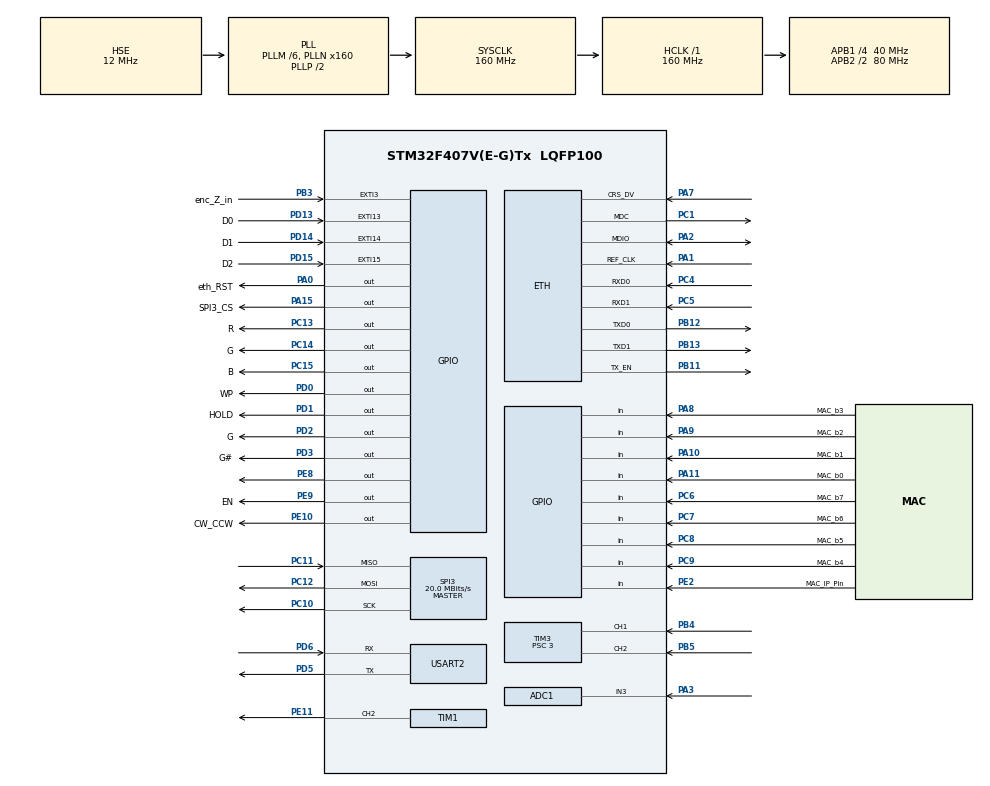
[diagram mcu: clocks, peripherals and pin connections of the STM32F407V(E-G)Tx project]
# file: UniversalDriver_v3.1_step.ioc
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ADC1.Channel-0\#ChannelRegularConversion=ADC_CHANNEL_3
ADC1.NbrOfConversionFlag=1
ADC1.Rank-0\#ChannelRegularConversion=1
ADC1.SamplingTime-0\#ChannelRegularConversion=ADC_SAMPLETIME_3CYCLES
ADC1.master=1
ETH.MACAddr=44\:84\:23\:84\:44\:77
ETH.MediaInterface=HAL_ETH_RMII_MODE
ETH.PhyAddress=0
FREERTOS.Tasks01=mainTask,0,512,MainTask,Default,NULL,Dynamic,NULL,NULL;Motor_pool,0,256,motor_pool,Default,NULL,Dynamic,NULL,NULL;ledTask,0,512,LedTask,Default,NULL,Dynamic,NULL,NULL
FREERTOS.configTOTAL_HEAP_SIZE=20000
FREERTOS.configUSE_NEWLIB_REENTRANT=1
LWIP.BSP.number=1
LWIP.LWIP_DHCP=0
LWIP.LWIP_DNS=1
LWIP.Version=v2.1.2_Cube
LWIP0.BSP.STBoard=false
LWIP0.BSP.api=BSP_COMPONENT_DRIVER
LWIP0.BSP.component=LAN8742
LWIP0.BSP.instance=LAN8742
LWIP0.BSP.name=Driver_PHY
LWIP0.BSP.semaphore=S_LAN8742
LWIP0.BSP.solution=LAN8742
Mcu.Family=STM32F4
Mcu.Name=STM32F407V(E-G)Tx
Mcu.Package=LQFP100
NVIC.ETH_IRQn=true\:5\:0\:false\:false\:true\:true\:false\:true\:true
NVIC.EXTI3_IRQn=true\:5\:0\:false\:false\:true\:true\:true\:true\:true
NVIC.PriorityGroup=NVIC_PRIORITYGROUP_4
NVIC.TIM3_IRQn=true\:5\:0\:false\:false\:true\:true\:true\:true\:true
NVIC.TIM4_IRQn=true\:5\:0\:false\:false\:true\:true\:true\:true\:true
NVIC.TIM7_IRQn=true\:15\:0\:false\:false\:true\:false\:false\:true\:true
NVIC.TimeBase=TIM7_IRQn
NVIC.TimeBaseIP=TIM7
PA0-WKUP.GPIO_Label=eth_RST
PA0-WKUP.Signal=GPIO_Output
PA1.GPIO_PuPd=GPIO_NOPULL
PA1.Mode=RMII
PA1.Signal=ETH_REF_CLK
PA10.GPIO_Label=MAC_b1
PA10.GPIO_PuPd=GPIO_PULLDOWN
PA10.Signal=GPIO_Input
PA11.GPIO_Label=MAC_b0
PA11.GPIO_PuPd=GPIO_PULLDOWN
PA11.Signal=GPIO_Input
PA13.Mode=Serial_Wire
PA13.Signal=SYS_JTMS-SWDIO
PA14.Mode=Serial_Wire
PA14.Signal=SYS_JTCK-SWCLK
PA15.GPIO_Label=SPI3_CS
PA15.Signal=GPIO_Output
PA2.GPIO_PuPd=GPIO_NOPULL
PA2.Mode=RMII
PA2.Signal=ETH_MDIO
PA3.Signal=ADCx_IN3
PA7.GPIO_PuPd=GPIO_NOPULL
PA7.Mode=RMII
PA7.Signal=ETH_CRS_DV
PA8.GPIO_Label=MAC_b3
PA8.GPIO_PuPd=GPIO_PULLDOWN
PA8.Signal=GPIO_Input
PA9.GPIO_Label=MAC_b2
PA9.GPIO_PuPd=GPIO_PULLDOWN
PA9.Signal=GPIO_Input
PB11.GPIO_PuPd=GPIO_NOPULL
PB11.Mode=RMII
PB11.Signal=ETH_TX_EN
PB12.GPIO_PuPd=GPIO_NOPULL
PB12.Mode=RMII
PB12.Signal=ETH_TXD0
PB13.GPIO_PuPd=GPIO_NOPULL
PB13.Mode=RMII
PB13.Signal=ETH_TXD1
PB3.GPIO_Label=enc_Z_in
PB3.Signal=GPXTI3
PB4.Signal=S_TIM3_CH1
PB5.Signal=S_TIM3_CH2
PC1.GPIO_PuPd=GPIO_NOPULL
PC1.Mode=RMII
PC1.Signal=ETH_MDC
PC10.Mode=Full_Duplex_Master
PC10.Signal=SPI3_SCK
PC11.Mode=Full_Duplex_Master
PC11.Signal=SPI3_MISO
PC12.Mode=Full_Duplex_Master
PC12.Signal=SPI3_MOSI
PC13-ANTI_TAMP.GPIO_Label=R
PC13-ANTI_TAMP.Signal=GPIO_Output
PC14-OSC32_IN.GPIO_Label=G
PC14-OSC32_IN.Signal=GPIO_Output
PC15-OSC32_OUT.GPIO_Label=B
PC15-OSC32_OUT.Signal=GPIO_Output
PC4.GPIO_PuPd=GPIO_NOPULL
PC4.Mode=RMII
PC4.Signal=ETH_RXD0
PC5.GPIO_PuPd=GPIO_NOPULL
PC5.Mode=RMII
PC5.Signal=ETH_RXD1
PC6.GPIO_Label=MAC_b7
PC6.GPIO_PuPd=GPIO_PULLDOWN
PC6.Signal=GPIO_Input
PC7.GPIO_Label=MAC_b6
PC7.GPIO_PuPd=GPIO_PULLDOWN
PC7.Signal=GPIO_Input
PC8.GPIO_Label=MAC_b5
PC8.GPIO_PuPd=GPIO_PULLDOWN
PC8.Signal=GPIO_Input
PC9.GPIO_Label=MAC_b4
PC9.GPIO_PuPd=GPIO_PULLDOWN
PC9.Signal=GPIO_Input
PD0.GPIO_Label=WP
PD0.Signal=GPIO_Output
PD1.GPIO_Label=HOLD
PD1.Signal=GPIO_Output
PD13.GPIO_Label=D0
PD13.GPIO_PuPd=GPIO_PULLDOWN
PD13.Signal=GPXTI13
PD14.GPIO_Label=D1
PD14.GPIO_PuPd=GPIO_PULLDOWN
PD14.Signal=GPXTI14
PD15.GPIO_Label=D2
PD15.GPIO_PuPd=GPIO_PULLDOWN
PD15.Signal=GPXTI15
PD2.GPIO_Label=G
PD2.Signal=GPIO_Output
PD3.GPIO_Label=G\#
PD3.Signal=GPIO_Output
PD5.Mode=Asynchronous
PD5.Signal=USART2_TX
PD6.Mode=Asynchronous
PD6.Signal=USART2_RX
PE10.GPIO_Label=CW_CCW
PE10.Signal=GPIO_Output
PE11.Signal=S_TIM1_CH2
PE2.GPIO_Label=MAC_IP_Pin
PE2.GPIO_PuPd=GPIO_PULLUP
PE2.Signal=GPIO_Input
PE8.Signal=GPIO_Output
PE9.GPIO_Label=EN
PE9.Signal=GPIO_Output
PH0-OSC_IN.Mode=HSE-External-Oscillator
PH0-OSC_IN.Signal=RCC_OSC_IN
PH1-OSC_OUT.Mode=HSE-External-Oscillator
PH1-OSC_OUT.Signal=RCC_OSC_OUT
ProjectManager.HeapSize=0x2000
ProjectManager.StackSize=0x4000
ProjectManager.TargetToolchain=STM32CubeIDE
RCC.48MHZClocksFreq_Value=80000000
RCC.AHBFreq_Value=160000000
RCC.APB1CLKDivider=RCC_HCLK_DIV4
RCC.APB1Freq_Value=40000000
RCC.APB1TimFreq_Value=80000000
RCC.APB2CLKDivider=RCC_HCLK_DIV2
RCC.APB2Freq_Value=80000000
RCC.APB2TimFreq_Value=160000000
RCC.CortexFreq_Value=160000000
RCC.HCLKFreq_Value=160000000
RCC.HSE_VALUE=12000000
RCC.HSI_VALUE=16000000
RCC.LSE_VALUE=32768
RCC.PLLM=6
RCC.PLLN=160
RCC.PLLSourceVirtual=RCC_PLLSOURCE_HSE
RCC.SYSCLKFreq_VALUE=160000000
RCC.SYSCLKSource=RCC_SYSCLKSOURCE_PLLCLK
RCC.VCOOutputFreq_Value=320000000
SH.ADCx_IN3.0=ADC1_IN3,IN3
SH.S_TIM1_CH2.0=TIM1_CH2,Output Compare2 CH2
SH.S_TIM3_CH1.0=TIM3_CH1,Encoder_Interface
SH.S_TIM3_CH2.0=TIM3_CH2,Encoder_Interface
SPI3.CalculateBaudRate=20.0 MBits/s
SPI3.Direction=SPI_DIRECTION_2LINES
SPI3.Mode=SPI_MODE_MASTER
SPI3.VirtualType=VM_MASTER
TIM1.Channel-Output\ Compare2\ CH2=TIM_CHANNEL_2
TIM1.OCMode_2=TIM_OCMODE_TOGGLE
TIM1.Period=10000
TIM1.Prescaler=7
TIM1.TIM_MasterOutputTrigger=TIM_TRGO_UPDATE
TIM3.AutoReloadPreload=TIM_AUTORELOAD_PRELOAD_ENABLE
TIM3.CounterMode=TIM_COUNTERMODE_CENTERALIGNED3
TIM3.EncoderMode=TIM_ENCODERMODE_TI12
TIM3.IC1Prescaler=TIM_ICPSC_DIV4
TIM3.IC2Prescaler=TIM_ICPSC_DIV4
TIM3.Prescaler=3
TIM4.AutoReloadPreload=TIM_AUTORELOAD_PRELOAD_ENABLE
TIM4.Period=1000
TIM6.Prescaler=168-1
USART2.VirtualMode=VM_ASYNC
VP_FREERTOS_VS_CMSIS_V1.Mode=CMSIS_V1
VP_LWIP_VS_Enabled.Mode=Enabled
VP_SYS_VS_tim7.Mode=TIM7
VP_TIM1_VS_ClockSourceINT.Mode=Internal
VP_TIM4_VS_ClockSourceITR.Mode=TriggerSource_ITR0
VP_TIM4_VS_ControllerModeClock.Mode=Clock Mode
VP_TIM6_VS_ClockSourceINT.Mode=Enable_Timer
board=custom

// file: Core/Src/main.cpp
/* USER CODE BEGIN Header */
/**
 ******************************************************************************
 * @file           : main.c
 * @brief          : Main program body
 ******************************************************************************
 * @attention
 *
 * Copyright (c) 2022 STMicroelectronics.
 * All rights reserved.
 *
 * This software is licensed under terms that can be found in the LICENSE file
 * in the root directory of this software component.
 * If no LICENSE file comes with this software, it is provided AS-IS.
 *
 ******************************************************************************
 */
/* USER CODE END Header */
#include "main.h"
#include "cmsis_os.h"
#include "adc.h"
#include "lwip.h"
#include "spi.h"
#include "tim.h"
#include "usart.h"
#include "gpio.h"

/* USER CODE BEGIN Includes */
#include "motor.hpp"
#include "flash_spi.h"
#include "Delay_us_DWT.h"
#include "LED.h"
/* USER CODE END Includes */

/* USER CODE BEGIN PV */
uint32_t count_tic = 0; //для замеров времени выполнения кода
extern TIM_HandleTypeDef htim3;
//TIM_HandleTypeDef no;

extern_driver ext_drive(&htim4, &htim1, TIM_CHANNEL_2, &htim6);
//BLDC_motor BLDC(&htim8, &htim1, &htim2, &htim3);
led LED_IPadr;
led LED_error;
led LED_OSstart;

base_motor *pMotor;

settings_t settings = {1, 1, 1};
flash mem_spi;
pins_spi_t ChipSelect = {SPI3_CS_GPIO_Port, SPI3_CS_Pin};
pins_spi_t WriteProtect = {WP_GPIO_Port, WP_Pin};
pins_spi_t Hold = {HOLD_GPIO_Port, HOLD_Pin};
bool resetSettings = false;
/* USER CODE END PV */

void SystemClock_Config(void);
void MX_FREERTOS_Init(void);
/* USER CODE BEGIN PFP */
uint8_t ReadStraps();
void finishedBlink();
void timoutBlink();
/* USER CODE END PFP */

/* USER CODE BEGIN 0 */
#ifdef __GNUC__
#define PUTCHAR_PROTOTYPE extern "C" int __io_putchar(int ch)
#else
#define PUTCHAR_PROTOTYPE int fputc(int ch, FILE *f)
#endif
PUTCHAR_PROTOTYPE
{
  HAL_UART_Transmit(&huart2, (uint8_t *)&ch, 1, HAL_MAX_DELAY);
  return ch;
}
/* USER CODE END 0 */

int main(void)
{

  /* MCU Configuration--------------------------------------------------------*/

  /* Reset of all peripherals, Initializes the Flash interface and the Systick. */
  HAL_Init();

  /* Configure the system clock */
  SystemClock_Config();

  /* Initialize all configured peripherals */
  MX_GPIO_Init();
  MX_ADC1_Init();
  MX_SPI3_Init();
  MX_TIM1_Init();
  MX_TIM3_Init();
  MX_TIM6_Init();
  MX_TIM4_Init();
  MX_USART2_UART_Init();
  /* USER CODE BEGIN 2 */
	//DWT_Init();

  	printf("Start STEP. %f\r\n", 0.01);
  	uint8_t endMAC = 0, IP = 100;

	HAL_GPIO_WritePin(eth_RST_GPIO_Port, eth_RST_Pin, GPIO_PIN_RESET);
	HAL_Delay(300);
	HAL_GPIO_WritePin(eth_RST_GPIO_Port, eth_RST_Pin, GPIO_PIN_SET);

	HAL_GPIO_WritePin(HOLD_GPIO_Port, HOLD_Pin, GPIO_PIN_SET);
	HAL_GPIO_WritePin(WP_GPIO_Port, WP_Pin, GPIO_PIN_SET);

	pMotor = &ext_drive;

	mem_spi.Init(&hspi3, 0, ChipSelect, WriteProtect, Hold, false);
	//HAL_Delay(100);
	mem_spi.Read(&settings);

	// если установлен джампер set
	// заходим в режим настройки
	bool StartSettings = false;
	for (int var = 0; var < 5; ++var) {

		if(HAL_GPIO_ReadPin(MAC_IP_Pin_GPIO_Port, MAC_IP_Pin_Pin)){
			StartSettings = true;
		}else{
			StartSettings = false;
			break;
		}

		HAL_Delay(30);
	}

	//режим настройки
	if(StartSettings){
		StartSettings = false;
		HAL_GPIO_WritePin(G_GPIO_Port, G_Pin, GPIO_PIN_RESET); // PC14 VD3

		endMAC = ReadStraps();
		HAL_Delay(300);
		HAL_GPIO_WritePin(R_GPIO_Port, R_Pin, GPIO_PIN_RESET); // PC13 VD2

		// ждем снятия джампера или таймаута
		int time;
		bool Settings;
		for (time = 0; time < 600; ++time) {

			if(HAL_GPIO_ReadPin(MAC_IP_Pin_GPIO_Port, MAC_IP_Pin_Pin)){
				Settings = true;
			}else{
				Settings = false;
				break;
			}

			HAL_Delay(100);
		}

		if(!Settings){ // if pin settings is 0
			IP = ReadStraps();
			HAL_Delay(300);
			HAL_GPIO_WritePin(B_GPIO_Port, B_Pin, GPIO_PIN_RESET); // PC15 VD4

			if((settings.version != 0) || (settings.version != 0xFF)){ // если считанные настройки не пусты то перезаписываем только изменения

				if(endMAC != 0xFF){
					settings.MAC[5] = endMAC;
				}

				if(IP != 0xFF){
					settings.saveIP.ip[3] = IP;
				}

				mem_spi.W25qxx_EraseSector(0);
				mem_spi.Write(settings);
				mem_spi.Read(&settings);

				finishedBlink();

				// and reset system
				HAL_Delay(500);
				NVIC_SystemReset();
			}else{
				resetSettings = true; // else reset all settings
			}
		}else{

			timoutBlink();
			// and reset system
			HAL_Delay(1000);
			NVIC_SystemReset();
		}

	}
	if((settings.version == 0) | (settings.version == 0xFFFFFFFF) | resetSettings)
	{
		mem_spi.W25qxx_EraseSector(0);

		resetSettings = false;

		settings.motorType = 0;
		settings.Accel = 100;
		settings.Deaccel = 100;
		settings.CurrentStop = 200;
		settings.LowPWR = 1;

		settings.DHCPset = true;

		settings.saveIP.ip[0] = 192;
		settings.saveIP.ip[1] = 168;
		settings.saveIP.ip[2] = 1;
		settings.saveIP.ip[3] = 90;

		settings.saveIP.mask[0] = 255;
		settings.saveIP.mask[1] = 255;
		settings.saveIP.mask[2] = 255;
		settings.saveIP.mask[3] = 0;

		settings.saveIP.gateway[0] = 192;
		settings.saveIP.gateway[1] = 168;
		settings.saveIP.gateway[2] = 1;
		settings.saveIP.gateway[3] = 1;

		settings.MAC[0] = 0x44;
		settings.MAC[1] = 0x84;
		settings.MAC[2] = 0x23;
		settings.MAC[3] = 0x84;
		settings.MAC[4] = 0x44;
		settings.MAC[5] = 0x01;

		settings.version = 43;

		mem_spi.Write(settings);

		mem_spi.Read(&settings);
	}

	printf("ver: %d\r\n", (int)settings.version);
	//HAL_Delay(500);

	mem_spi.SetUsedInOS(true); // switch to use in OS
  /* USER CODE END 2 */

  /* Call init function for freertos objects (in freertos.c) */
  MX_FREERTOS_Init();

  /* Start scheduler */
  osKernelStart();

  /* We should never get here as control is now taken by the scheduler */
  /* Infinite loop */
	while (1)
	{

	}
}

void SystemClock_Config(void)
{
  RCC_OscInitTypeDef RCC_OscInitStruct = {0};
  RCC_ClkInitTypeDef RCC_ClkInitStruct = {0};

  /** Configure the main internal regulator output voltage
  */
  __HAL_RCC_PWR_CLK_ENABLE();
  __HAL_PWR_VOLTAGESCALING_CONFIG(PWR_REGULATOR_VOLTAGE_SCALE1);

  /** Initializes the RCC Oscillators according to the specified parameters
  * in the RCC_OscInitTypeDef structure.
  */
  RCC_OscInitStruct.OscillatorType = RCC_OSCILLATORTYPE_HSE;
  RCC_OscInitStruct.HSEState = RCC_HSE_ON;
  RCC_OscInitStruct.PLL.PLLState = RCC_PLL_ON;
  RCC_OscInitStruct.PLL.PLLSource = RCC_PLLSOURCE_HSE;
  RCC_OscInitStruct.PLL.PLLM = 6;
  RCC_OscInitStruct.PLL.PLLN = 160;
  RCC_OscInitStruct.PLL.PLLP = RCC_PLLP_DIV2;
  RCC_OscInitStruct.PLL.PLLQ = 4;
  if (HAL_RCC_OscConfig(&RCC_OscInitStruct) != HAL_OK)
  {
    Error_Handler();
  }

  /** Initializes the CPU, AHB and APB buses clocks
  */
  RCC_ClkInitStruct.ClockType = RCC_CLOCKTYPE_HCLK|RCC_CLOCKTYPE_SYSCLK
                              |RCC_CLOCKTYPE_PCLK1|RCC_CLOCKTYPE_PCLK2;
  RCC_ClkInitStruct.SYSCLKSource = RCC_SYSCLKSOURCE_PLLCLK;
  RCC_ClkInitStruct.AHBCLKDivider = RCC_SYSCLK_DIV1;
  RCC_ClkInitStruct.APB1CLKDivider = RCC_HCLK_DIV4;
  RCC_ClkInitStruct.APB2CLKDivider = RCC_HCLK_DIV2;

  if (HAL_RCC_ClockConfig(&RCC_ClkInitStruct, FLASH_LATENCY_5) != HAL_OK)
  {
    Error_Handler();
  }
}

/* USER CODE BEGIN 4 */
uint8_t ReadStraps(){
	uint8_t tempStraps;

	//Bit0
	if (HAL_GPIO_ReadPin(MAC_b0_GPIO_Port, MAC_b0_Pin)) SET_BIT(tempStraps,1<<0);
	else CLEAR_BIT(tempStraps,1<<0);
	//Bit1
	if (HAL_GPIO_ReadPin(MAC_b1_GPIO_Port, MAC_b1_Pin)) SET_BIT(tempStraps,1<<1);
	else CLEAR_BIT(tempStraps,1<<1);
	//Bit2
	if (HAL_GPIO_ReadPin(MAC_b2_GPIO_Port, MAC_b2_Pin)) SET_BIT(tempStraps,1<<2);
	else CLEAR_BIT(tempStraps,1<<2);
	//Bit3
	if (HAL_GPIO_ReadPin(MAC_b3_GPIO_Port, MAC_b3_Pin)) SET_BIT(tempStraps,1<<3);
	else CLEAR_BIT(tempStraps,1<<3);
	//Bit4
	if (HAL_GPIO_ReadPin(MAC_b4_GPIO_Port, MAC_b4_Pin)) SET_BIT(tempStraps,1<<4);
	else CLEAR_BIT(tempStraps,1<<4);
	//Bit5
	if (HAL_GPIO_ReadPin(MAC_b5_GPIO_Port, MAC_b5_Pin)) SET_BIT(tempStraps,1<<5);
	else CLEAR_BIT(tempStraps,1<<5);
	//Bit6
	if (HAL_GPIO_ReadPin(MAC_b6_GPIO_Port, MAC_b6_Pin)) SET_BIT(tempStraps,1<<6);
	else CLEAR_BIT(tempStraps,1<<6);
	//Bit7
	if (HAL_GPIO_ReadPin(MAC_b7_GPIO_Port, MAC_b7_Pin)) SET_BIT(tempStraps,1<<7);
	else CLEAR_BIT(tempStraps,1<<7);

	return tempStraps;
}

void finishedBlink(){
#define  timeBetween 300

	// finished blink
	HAL_GPIO_WritePin(B_GPIO_Port, B_Pin, GPIO_PIN_SET); // PC15 VD4
	HAL_GPIO_WritePin(R_GPIO_Port, R_Pin, GPIO_PIN_SET); // PC13 VD2
	HAL_GPIO_WritePin(G_GPIO_Port, G_Pin, GPIO_PIN_SET); // PC14 VD3

	for (int var = 0; var < 5; ++var) {
		HAL_GPIO_WritePin(G_GPIO_Port, G_Pin, GPIO_PIN_RESET); // PC14 VD3
		HAL_Delay(timeBetween);
		HAL_GPIO_WritePin(G_GPIO_Port, G_Pin, GPIO_PIN_SET); // PC14 VD3
		HAL_GPIO_WritePin(R_GPIO_Port, R_Pin, GPIO_PIN_RESET); // PC13 VD2
		HAL_Delay(timeBetween);
		HAL_GPIO_WritePin(R_GPIO_Port, R_Pin, GPIO_PIN_SET); // PC13 VD2
		HAL_GPIO_WritePin(B_GPIO_Port, B_Pin, GPIO_PIN_RESET); // PC15 VD4
		HAL_Delay(timeBetween);
		HAL_GPIO_WritePin(B_GPIO_Port, B_Pin, GPIO_PIN_SET); // PC15 VD4

	}

	HAL_GPIO_WritePin(B_GPIO_Port, B_Pin, GPIO_PIN_SET); // PC15 VD4
	HAL_GPIO_WritePin(R_GPIO_Port, R_Pin, GPIO_PIN_SET); // PC13 VD2
	HAL_GPIO_WritePin(G_GPIO_Port, G_Pin, GPIO_PIN_SET); // PC14 VD3
}

void timoutBlink(){
	// timOut plink  all
	HAL_GPIO_WritePin(B_GPIO_Port, B_Pin, GPIO_PIN_RESET); // PC15 VD4
	HAL_GPIO_WritePin(R_GPIO_Port, R_Pin, GPIO_PIN_RESET); // PC13 VD2
	HAL_GPIO_WritePin(G_GPIO_Port, G_Pin, GPIO_PIN_RESET); // PC14 VD3
	for (int var = 0; var < 5; ++var) {
		HAL_GPIO_TogglePin(B_GPIO_Port, B_Pin); // PC15 VD4
		HAL_GPIO_TogglePin(R_GPIO_Port, R_Pin); // PC13 VD2
		HAL_GPIO_TogglePin(G_GPIO_Port, G_Pin); // PC14 VD3
		HAL_Delay(800);
	}
}

void HAL_TIM_IC_CaptureCallback(TIM_HandleTypeDef *htim){
	if(htim->Instance == TIM2){
		pMotor->SensHandler();
	}
	if(htim->Instance == TIM3){
		pMotor->StepsAllHandler(__HAL_TIM_GET_COUNTER(htim));
	}
}

/* USER CODE END 4 */

void HAL_TIM_PeriodElapsedCallback(TIM_HandleTypeDef *htim)
{
  if (htim->Instance == TIM7) {
    HAL_IncTick();
  }
  /* USER CODE BEGIN Callback 1 */
  if (htim->Instance == TIM4) {
    //HAL_IncTick();
	  pMotor->StepsAllHandler(__HAL_TIM_GET_COUNTER(htim));
  }
  /* USER CODE END Callback 1 */
}

void Error_Handler(void)
{
	__disable_irq();
	while (1)
	{
	}
}
